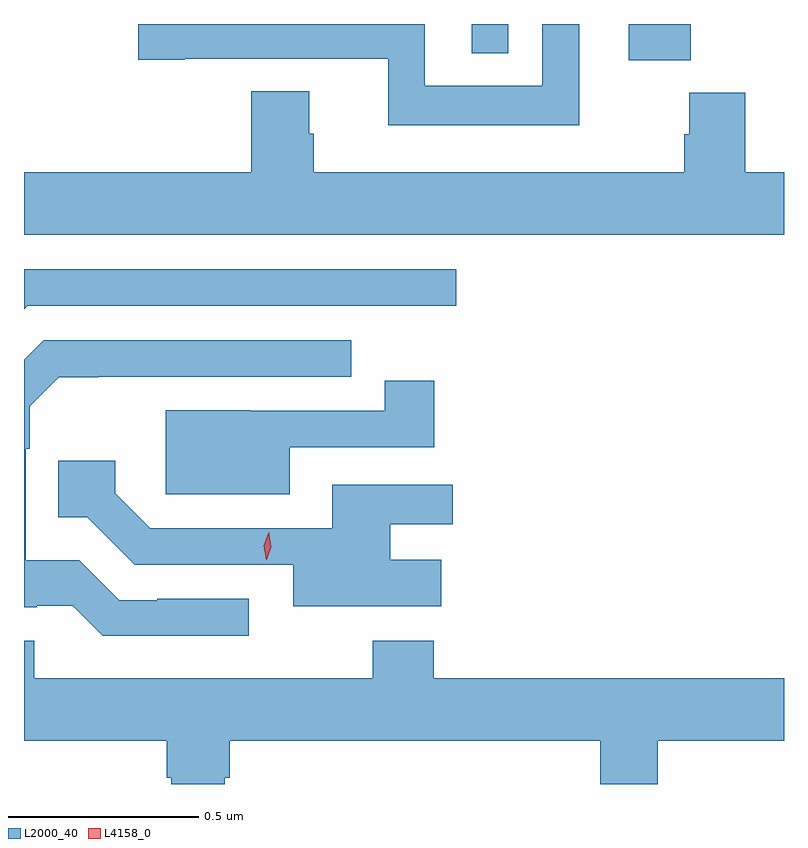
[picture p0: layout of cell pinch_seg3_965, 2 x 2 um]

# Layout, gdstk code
import gdstk
lib = gdstk.Library(unit=1e-6, precision=1e-09)
def R(c, l, rs):  # rectangles x0, y0, x1, y1
    for r in rs: c.add(gdstk.rectangle(r[:2], r[2:], *l))
def P(c, l, *ps):  # polygons
    for p in ps: c.add(gdstk.Polygon(p, *l))
L2000_40 = (2000, 40)
L4158_0 = (4158, 0)

pinch_seg3_965 = lib.new_cell('pinch_seg3_965')
R(pinch_seg3_965, L2000_40, [(547.844,709.366,548.008,709.462), (547.431,709.385,547.527,709.462)])
P(pinch_seg3_965, L2000_40, [(547.714,709.462),(547.617,709.462),(547.617,709.3),(547.308,709.3),(547.308,709.462),(546.553,709.462),(546.553,709.368),(546.676,709.368),(546.676,709.37),(547.211,709.37),(547.211,709.196),(547.714,709.196)],
  [(548.253,709.072),(548.151,709.072),(548.151,709.281),(548.003,709.281),(548.003,709.172),(547.991,709.172),(547.991,709.072),(547.016,709.072),(547.016,709.173),(547.003,709.173),(547.003,709.285),(546.851,709.285),(546.851,709.072),(546.253,709.072),(546.253,708.908),(548.253,708.908)],
  [(546.261,708.72),(547.39,708.72),(547.39,708.816),(546.253,708.816),(546.253,708.712)],
  [(546.844,707.949),(546.604,707.949),(546.604,707.946),(546.504,707.946),(546.399,708.051),(546.258,708.051),(546.258,708.344),(546.268,708.344),(546.268,708.456),(546.344,708.532),(546.448,708.532),(546.448,708.534),(547.114,708.534),(547.114,708.63),(546.305,708.63),(546.253,708.578),(546.253,707.927),(546.287,707.927),(546.287,707.931),(546.381,707.931),(546.46,707.852),(546.844,707.852)],
  [(546.952,708.348),(547.333,708.348),(547.333,708.523),(547.202,708.523),(547.202,708.444),(546.848,708.444),(546.848,708.445),(546.626,708.445),(546.626,708.224),(546.952,708.224)],
  [(547.351,708.052),(547.217,708.052),(547.217,708.146),(547.381,708.146),(547.381,708.25),(547.064,708.25),(547.064,708.135),(546.585,708.135),(546.493,708.227),(546.493,708.313),(546.343,708.313),(546.343,708.164),(546.42,708.164),(546.545,708.039),(546.962,708.039),(546.962,707.93),(547.351,707.93)],
  [(546.781,707.478),(546.794,707.478),(546.794,707.576),(547.769,707.576),(547.769,707.462),(547.921,707.462),(547.921,707.576),(548.253,707.576),(548.253,707.74),(547.331,707.74),(547.331,707.839),(547.171,707.839),(547.171,707.74),(546.28,707.74),(546.28,707.839),(546.253,707.839),(546.253,707.576),(546.629,707.576),(546.629,707.478),(546.641,707.478),(546.641,707.462),(546.781,707.462)])
P(pinch_seg3_965, L4158_0, [(546.891,708.052),(546.884,708.089),(546.897,708.124),(546.897,708.124),(546.897,708.124),(546.904,708.087),(546.892,708.052),(546.892,708.052)])

lib.write_gds('pinch_seg3_965.gds')
